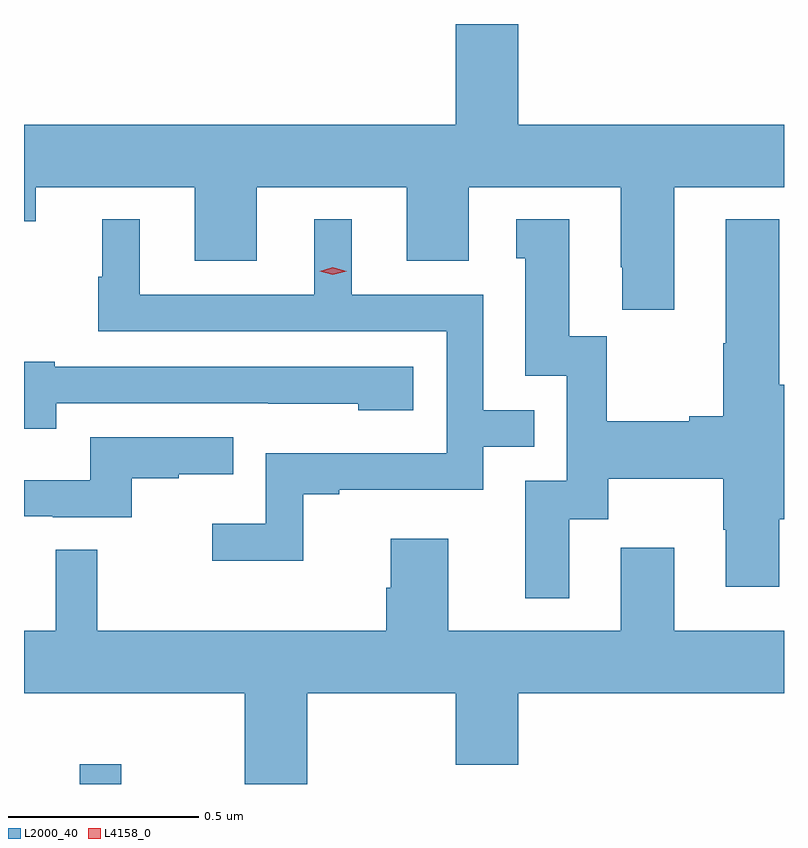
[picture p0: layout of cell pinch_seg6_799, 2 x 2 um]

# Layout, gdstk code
import gdstk
lib = gdstk.Library(unit=1e-6, precision=1e-09)
def R(c, l, rs):  # rectangles x0, y0, x1, y1
    for r in rs: c.add(gdstk.rectangle(r[:2], r[2:], *l))
def P(c, l, *ps):  # polygons
    for p in ps: c.add(gdstk.Polygon(p, *l))
L2000_40 = (2000, 40)
L4158_0 = (4158, 0)

pinch_seg6_799 = lib.new_cell('pinch_seg6_799')
R(pinch_seg6_799, L2000_40, [(307.875,992.385,307.984,992.437)])
P(pinch_seg6_799, L2000_40, [(309.439,993.956),(309.728,993.956),(309.728,994.12),(309.028,994.12),(309.028,994.385),(308.864,994.385),(308.864,994.12),(307.728,994.12),(307.728,993.866),(307.759,993.866),(307.759,993.956),(308.177,993.956),(308.177,993.762),(308.341,993.762),(308.341,993.956),(308.735,993.956),(308.735,993.762),(308.899,993.762),(308.899,993.956),(309.299,993.956),(309.299,993.745),(309.302,993.745),(309.302,993.633),(309.439,993.633)],
  [(309.163,993.082),(309.265,993.082),(309.265,993.188),(309.568,993.188),(309.568,993.054),(309.575,993.054),(309.575,992.904),(309.715,992.904),(309.715,993.082),(309.728,993.082),(309.728,993.436),(309.715,993.436),(309.715,993.871),(309.575,993.871),(309.575,993.545),(309.568,993.545),(309.568,993.353),(309.479,993.353),(309.479,993.34),(309.261,993.34),(309.261,993.563),(309.163,993.563),(309.163,993.871),(309.023,993.871),(309.023,993.768),(309.047,993.768),(309.047,993.459),(309.156,993.459),(309.156,993.183),(309.047,993.183),(309.047,992.874),(309.163,992.874)],
  [(308.463,993.147),(308.557,993.147),(308.557,993.159),(308.937,993.159),(308.937,993.273),(309.071,993.273),(309.071,993.369),(308.937,993.369),(308.937,993.672),(308.59,993.672),(308.59,993.871),(308.492,993.871),(308.492,993.672),(308.032,993.672),(308.032,993.871),(307.934,993.871),(307.934,993.72),(307.923,993.72),(307.923,993.576),(308.841,993.576),(308.841,993.255),(308.364,993.255),(308.364,993.07),(308.223,993.07),(308.223,992.972),(308.463,992.972)],
  [(307.813,993.387),(308.371,993.387),(308.371,993.386),(308.607,993.386),(308.607,993.368),(308.752,993.368),(308.752,993.483),(307.809,993.483),(307.809,993.496),(307.728,993.496),(307.728,993.32),(307.813,993.32)],
  [(308.012,993.189),(308.135,993.189),(308.135,993.2),(308.279,993.2),(308.279,993.297),(307.902,993.297),(307.902,993.185),(307.728,993.185),(307.728,993.09),(307.804,993.09),(307.804,993.087),(308.012,993.087)],
  [(307.921,993.002),(307.812,993.002),(307.812,992.788),(307.728,992.788),(307.728,992.624),(308.309,992.624),(308.309,992.385),(308.473,992.385),(308.473,992.624),(308.864,992.624),(308.864,992.436),(309.028,992.436),(309.028,992.624),(309.728,992.624),(309.728,992.788),(309.439,992.788),(309.439,993.007),(309.299,993.007),(309.299,992.788),(308.845,992.788),(308.845,993.031),(308.693,993.031),(308.693,992.901),(308.681,992.901),(308.681,992.788),(307.921,992.788)])
P(pinch_seg6_799, L4158_0, [(308.541,993.725),(308.506,993.735),(308.505,993.735),(308.506,993.735),(308.541,993.745),(308.577,993.734),(308.577,993.734),(308.577,993.734)])

lib.write_gds('pinch_seg6_799.gds')
